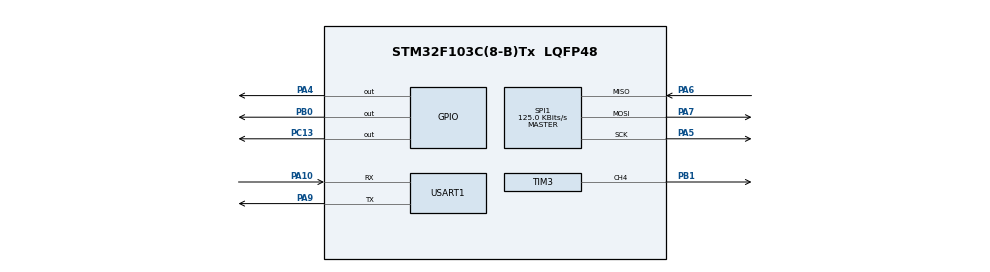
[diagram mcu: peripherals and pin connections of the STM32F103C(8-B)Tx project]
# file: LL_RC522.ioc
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Mcu.Family=STM32F1
Mcu.Name=STM32F103C(8-B)Tx
Mcu.Package=LQFP48
NVIC.PriorityGroup=NVIC_PRIORITYGROUP_4
PA10.Mode=Asynchronous
PA10.Signal=USART1_RX
PA13.Mode=Trace_Asynchronous_SW
PA13.Signal=SYS_JTMS-SWDIO
PA14.Mode=Trace_Asynchronous_SW
PA14.Signal=SYS_JTCK-SWCLK
PA4.Signal=GPIO_Output
PA5.Mode=Full_Duplex_Master
PA5.Signal=SPI1_SCK
PA6.Mode=Full_Duplex_Master
PA6.Signal=SPI1_MISO
PA7.Mode=Full_Duplex_Master
PA7.Signal=SPI1_MOSI
PA9.Mode=Asynchronous
PA9.Signal=USART1_TX
PB0.Signal=GPIO_Output
PB1.Signal=S_TIM3_CH4
PB3.Mode=Trace_Asynchronous_SW
PB3.Signal=SYS_JTDO-TRACESWO
PC13-TAMPER-RTC.PinState=GPIO_PIN_SET
PC13-TAMPER-RTC.Signal=GPIO_Output
ProjectManager.HeapSize=0x200
ProjectManager.StackSize=0x400
ProjectManager.TargetToolchain=Makefile
RCC.APB1Freq_Value=8000000
RCC.APB2Freq_Value=8000000
SH.S_TIM3_CH4.0=TIM3_CH4,PWM Generation4 CH4
SPI1.BaudRatePrescaler=SPI_BAUDRATEPRESCALER_64
SPI1.CLKPhase=SPI_PHASE_2EDGE
SPI1.CLKPolarity=SPI_POLARITY_HIGH
SPI1.CRCCalculation=SPI_CRCCALCULATION_ENABLE
SPI1.CalculateBaudRate=125.0 KBits/s
SPI1.Direction=SPI_DIRECTION_2LINES
SPI1.Mode=SPI_MODE_MASTER
SPI1.VirtualType=VM_MASTER
TIM3.AutoReloadPreload=TIM_AUTORELOAD_PRELOAD_ENABLE
TIM3.Channel-PWM\ Generation4\ CH4=TIM_CHANNEL_4
TIM3.Period=999
TIM3.Prescaler=159
USART1.VirtualMode=VM_ASYNC
board=custom

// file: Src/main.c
/* USER CODE BEGIN Header */
/**
  ******************************************************************************
  * @file           : main.c
  * @brief          : Main program body
  ******************************************************************************
  * @attention
  *
  * <h2><center>&copy; Copyright (c) 2020 STMicroelectronics.
  * All rights reserved.</center></h2>
  *
  * This software component is licensed by ST under BSD 3-Clause license,
  * the "License"; You may not use this file except in compliance with the
  * License. You may obtain a copy of the License at:
  *                        opensource.org/licenses/BSD-3-Clause
  *
  ******************************************************************************
  */
/* USER CODE END Header */
#include "main.h"
#include "spi.h"
#include "tim.h"
#include "usart.h"
#include "gpio.h"

/* USER CODE BEGIN Includes */
#include "RC522.h"
#include <stdio.h>
/* USER CODE END Includes */

void SystemClock_Config(void);

int main(void)
{

  /* MCU Configuration--------------------------------------------------------*/

  /* Reset of all peripherals, Initializes the Flash interface and the Systick. */

  LL_APB2_GRP1_EnableClock(LL_APB2_GRP1_PERIPH_AFIO);
  LL_APB1_GRP1_EnableClock(LL_APB1_GRP1_PERIPH_PWR);

  NVIC_SetPriorityGrouping(NVIC_PRIORITYGROUP_4);

  /* System interrupt init*/

  /** NOJTAG: JTAG-DP Disabled and SW-DP Enabled
  */
  LL_GPIO_AF_Remap_SWJ_NOJTAG();

  /* Configure the system clock */
  SystemClock_Config();

  /* Initialize all configured peripherals */
  MX_GPIO_Init();
  MX_TIM3_Init();
  MX_USART1_UART_Init();
  MX_SPI1_Init();
  /* USER CODE BEGIN 2 */

  LL_SPI_Enable(SPI1);
  LL_TIM_CC_EnableChannel(TIM3, LL_TIM_CHANNEL_CH4);
  LL_TIM_EnableCounter(TIM3);

  RC522_Rese();
  RC522_Antenna_On();

  char cStr[30];
  uint8_t uid[4] = {0x41, 0xF5, 0x93, 0x7A};
  uint8_t ucArray_ID[4];
  uint8_t ucStatusReturn;

  puts("It's OK!\n");
  delay_ms(1000);

  /* USER CODE END 2 */

  /* Infinite loop */
  while (1)
  {

    /* USER CODE BEGIN 3 */
    if ((ucStatusReturn = PcdRequest(PICC_REQALL, ucArray_ID)) != MI_OK)
    {
      ucStatusReturn = PcdRequest(PICC_REQALL, ucArray_ID);
    }
    LL_TIM_OC_SetCompareCH4(TIM3, 125);
    if (ucStatusReturn == MI_OK)
    {
      if (PcdAnticoll(ucArray_ID) == MI_OK)
      {
        sprintf(cStr, "ID:%02X%02X%02X%02X\n", ucArray_ID[0], ucArray_ID[1], ucArray_ID[2], ucArray_ID[3]);
        puts(cStr);
        if (uid[0] == ucArray_ID[0] && uid[1] == ucArray_ID[1] && uid[2] == ucArray_ID[2] && uid[3] == ucArray_ID[3])
        {
          LL_GPIO_ResetOutputPin(GPIOC, LL_GPIO_PIN_13);
          LL_TIM_OC_SetCompareCH4(TIM3, 25);
          delay_ms(1000);
          LL_GPIO_SetOutputPin(GPIOC, LL_GPIO_PIN_13);
        }
      }
    }
  }
  IC_test();

  /* USER CODE END 3 */
}

void SystemClock_Config(void)
{
  LL_FLASH_SetLatency(LL_FLASH_LATENCY_0);
  while(LL_FLASH_GetLatency()!= LL_FLASH_LATENCY_0)
  {
  }
  LL_RCC_HSI_SetCalibTrimming(16);
  LL_RCC_HSI_Enable();

   /* Wait till HSI is ready */
  while(LL_RCC_HSI_IsReady() != 1)
  {

  }
  LL_RCC_SetAHBPrescaler(LL_RCC_SYSCLK_DIV_1);
  LL_RCC_SetAPB1Prescaler(LL_RCC_APB1_DIV_1);
  LL_RCC_SetAPB2Prescaler(LL_RCC_APB2_DIV_1);
  LL_RCC_SetSysClkSource(LL_RCC_SYS_CLKSOURCE_HSI);

   /* Wait till System clock is ready */
  while(LL_RCC_GetSysClkSource() != LL_RCC_SYS_CLKSOURCE_STATUS_HSI)
  {

  }
  LL_Init1msTick(8000000);
  LL_SetSystemCoreClock(8000000);
}

void Error_Handler(void)
{
}

/************************ (C) COPYRIGHT STMicroelectronics *****END OF FILE****/
